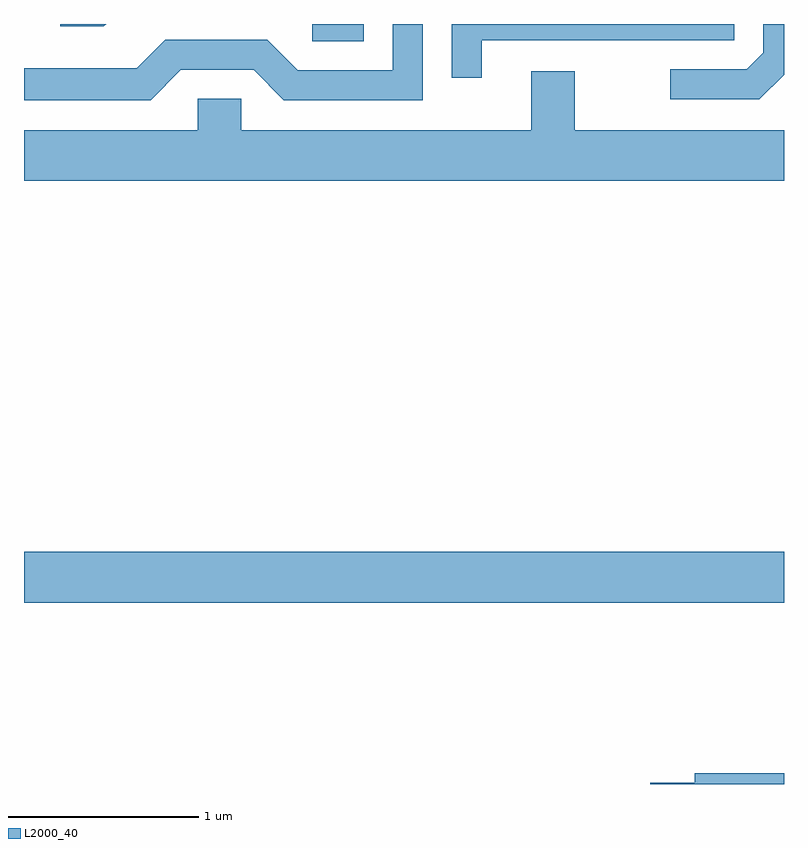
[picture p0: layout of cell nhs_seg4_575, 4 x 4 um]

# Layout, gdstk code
import gdstk
lib = gdstk.Library(unit=1e-6, precision=1e-09)
def R(c, l, rs):  # rectangles x0, y0, x1, y1
    for r in rs: c.add(gdstk.rectangle(r[:2], r[2:], *l))
def P(c, l, *ps):  # polygons
    for p in ps: c.add(gdstk.Polygon(p, *l))
L2000_40 = (2000, 40)

nhs_seg4_575 = lib.new_cell('nhs_seg4_575')
R(nhs_seg4_575, L2000_40, [(201.611,1316.936,205.611,1317.204), (203.128,1319.891,203.399,1319.982)])
P(nhs_seg4_575, L2000_40, [(204.019,1319.896),(205.349,1319.896),(205.349,1319.982),(203.861,1319.982),(203.861,1319.698),(204.019,1319.698)],
  [(202.043,1319.982),(201.803,1319.982),(201.803,1319.971),(202.032,1319.971)],
  [(205.611,1319.716),(205.611,1319.982),(205.501,1319.982),(205.501,1319.832),(205.414,1319.744),(205.013,1319.744),(205.013,1319.586),(205.482,1319.586)],
  [(202.437,1319.741),(202.819,1319.741),(202.979,1319.581),(203.709,1319.581),(203.709,1319.982),(203.551,1319.982),(203.551,1319.739),(203.052,1319.739),(202.892,1319.899),(202.354,1319.899),(202.204,1319.749),(201.611,1319.749),(201.611,1319.581),(202.277,1319.581)],
  [(205.611,1319.424),(204.509,1319.424),(204.509,1319.734),(204.281,1319.734),(204.281,1319.424),(202.754,1319.424),(202.754,1319.589),(202.526,1319.589),(202.526,1319.424),(201.611,1319.424),(201.611,1319.156),(205.611,1319.156)],
  [(205.611,1316.039),(205.141,1316.039),(205.141,1315.989),(204.906,1315.989),(204.906,1315.982),(205.611,1315.982)])

lib.write_gds('nhs_seg4_575.gds')
